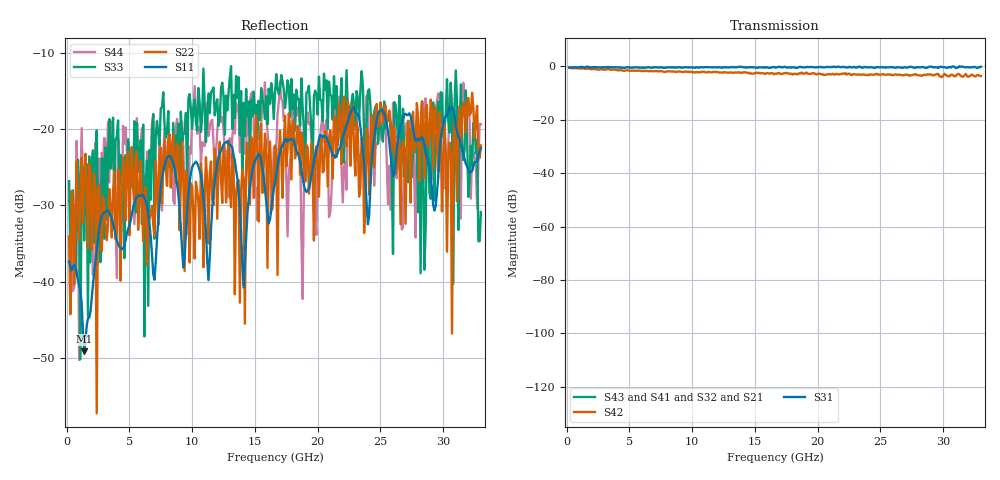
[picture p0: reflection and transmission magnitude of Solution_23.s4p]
# GHZ S RI R 50
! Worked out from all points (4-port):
!   329 points, 200 MHz to 33 GHz, reference 50 ohm
!   strongest paths, dB at 200 MHz, 8.4 GHz, 16.6 GHz, 24.8 GHz, 33 GHz:
!     S31: -0.4, -0.4, -0.4, -0.3, -0.1
!     S42: -0.5, -1.9, -2.7, -3.0, -3.6
!     S43: -, -, -, -, -
!     S41: -, -, -, -, -
!     S32: -, -, -, -, -
!     S21: -, -, -, -, -
!   lowest |S11| = -49.1 dB at 1.4 GHz (marker M1), VSWR 1.01, Z = 50.4 + j0.00761 ohm
!   |S11| at or under -10 dB: start of sweep to end of sweep
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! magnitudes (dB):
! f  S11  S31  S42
! 200 MHz  -37.3  -0.4  -0.5
! 1.4 GHz  -49.1  -0.4  -0.8
! 2.3 GHz  -37.2  -0.3  -1.0
! 2.4 GHz  -35.8  -0.3  -1.1
! 2.5 GHz  -34.4  -0.3  -1.2
! 5.2 GHz  -31.2  -0.5  -1.6
! 33 GHz  -22.5  -0.1  -3.6
